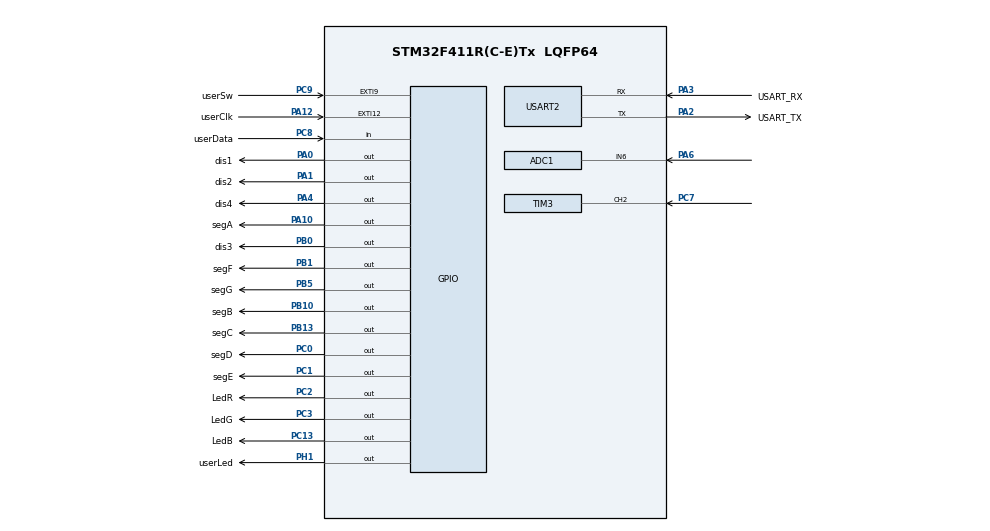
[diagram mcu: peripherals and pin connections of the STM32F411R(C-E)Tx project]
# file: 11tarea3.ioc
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ADC1.Channel-0\#ChannelRegularConversion=ADC_CHANNEL_6
ADC1.ContinuousConvMode=ENABLE
ADC1.DMAContinuousRequests=ENABLE
ADC1.ExternalTrigConv=ADC_EXTERNALTRIGCONV_T3_TRGO
ADC1.NbrOfConversionFlag=1
ADC1.master=1
Dma.ADC1.0.Direction=DMA_PERIPH_TO_MEMORY
Dma.ADC1.0.FIFOMode=DMA_FIFOMODE_DISABLE
Dma.ADC1.0.Instance=DMA2_Stream0
Dma.ADC1.0.MemDataAlignment=DMA_MDATAALIGN_HALFWORD
Dma.ADC1.0.MemInc=DMA_MINC_ENABLE
Dma.ADC1.0.Mode=DMA_CIRCULAR
Dma.ADC1.0.PeriphDataAlignment=DMA_PDATAALIGN_HALFWORD
Dma.ADC1.0.PeriphInc=DMA_PINC_DISABLE
Dma.ADC1.0.Priority=DMA_PRIORITY_LOW
Dma.Request0=ADC1
Dma.Request1=TIM3_CH2
Dma.TIM3_CH2.1.Direction=DMA_PERIPH_TO_MEMORY
Dma.TIM3_CH2.1.FIFOMode=DMA_FIFOMODE_DISABLE
Dma.TIM3_CH2.1.Instance=DMA1_Stream5
Dma.TIM3_CH2.1.MemDataAlignment=DMA_MDATAALIGN_HALFWORD
Dma.TIM3_CH2.1.MemInc=DMA_MINC_ENABLE
Dma.TIM3_CH2.1.Mode=DMA_CIRCULAR
Dma.TIM3_CH2.1.PeriphDataAlignment=DMA_PDATAALIGN_HALFWORD
Dma.TIM3_CH2.1.PeriphInc=DMA_PINC_DISABLE
Dma.TIM3_CH2.1.Priority=DMA_PRIORITY_LOW
Mcu.Family=STM32F4
Mcu.Name=STM32F411R(C-E)Tx
Mcu.Package=LQFP64
NVIC.ADC_IRQn=true\:0\:0\:false\:false\:true\:true\:true\:true
NVIC.DMA1_Stream5_IRQn=true\:0\:0\:false\:false\:true\:false\:true\:true
NVIC.DMA2_Stream0_IRQn=true\:0\:0\:false\:false\:true\:false\:true\:true
NVIC.EXTI15_10_IRQn=true\:0\:0\:false\:false\:true\:true\:true\:true
NVIC.EXTI9_5_IRQn=true\:0\:0\:false\:false\:true\:true\:true\:true
NVIC.PriorityGroup=NVIC_PRIORITYGROUP_0
NVIC.TIM2_IRQn=true\:0\:0\:false\:false\:true\:true\:true\:true
NVIC.TIM3_IRQn=true\:0\:0\:false\:false\:true\:true\:true\:true
NVIC.TIM4_IRQn=true\:0\:0\:false\:false\:true\:true\:true\:true
NVIC.USART2_IRQn=true\:0\:0\:false\:false\:true\:true\:true\:true
PA0-WKUP.GPIO_Label=dis1
PA0-WKUP.Signal=GPIO_Output
PA1.GPIO_Label=dis2
PA1.Signal=GPIO_Output
PA10.GPIO_Label=segA
PA10.Signal=GPIO_Output
PA12.GPIO_Label=userClk
PA12.Signal=GPXTI12
PA13.GPIO_Label=TMS
PA13.Mode=Serial_Wire
PA13.Signal=SYS_JTMS-SWDIO
PA14.GPIO_Label=TCK
PA14.Mode=Serial_Wire
PA14.Signal=SYS_JTCK-SWCLK
PA2.GPIO_Label=USART_TX
PA2.Mode=Asynchronous
PA2.Signal=USART2_TX
PA3.GPIO_Label=USART_RX
PA3.Mode=Asynchronous
PA3.Signal=USART2_RX
PA4.GPIO_Label=dis4
PA4.Signal=GPIO_Output
PA6.Signal=ADCx_IN6
PB0.GPIO_Label=dis3
PB0.Signal=GPIO_Output
PB1.GPIO_Label=segF
PB1.Signal=GPIO_Output
PB10.GPIO_Label=segB
PB10.Signal=GPIO_Output
PB13.GPIO_Label=segC
PB13.Signal=GPIO_Output
PB3.GPIO_Label=SWO
PB3.Signal=SYS_JTDO-SWO
PB5.GPIO_Label=segG
PB5.Signal=GPIO_Output
PC0.GPIO_Label=segD
PC0.Signal=GPIO_Output
PC1.GPIO_Label=segE
PC1.Signal=GPIO_Output
PC13-ANTI_TAMP.GPIO_Label=LedB
PC13-ANTI_TAMP.Signal=GPIO_Output
PC2.GPIO_Label=LedR
PC2.Signal=GPIO_Output
PC3.GPIO_Label=LedG
PC3.Signal=GPIO_Output
PC7.Signal=S_TIM3_CH2
PC8.GPIO_Label=userData
PC8.Signal=GPIO_Input
PC9.GPIO_Label=userSw
PC9.Signal=GPXTI9
PH1\ -\ OSC_OUT.GPIO_Label=userLed
PH1\ -\ OSC_OUT.PinState=GPIO_PIN_SET
PH1\ -\ OSC_OUT.Signal=GPIO_Output
ProjectManager.HeapSize=0x200
ProjectManager.StackSize=0x400
ProjectManager.TargetToolchain=STM32CubeIDE
RCC.48MHZClocksFreq_Value=84000000
RCC.AHBFreq_Value=84000000
RCC.APB1CLKDivider=RCC_HCLK_DIV2
RCC.APB1Freq_Value=42000000
RCC.APB1TimFreq_Value=84000000
RCC.APB2Freq_Value=84000000
RCC.APB2TimFreq_Value=84000000
RCC.CortexFreq_Value=84000000
RCC.FLatency-AdvancedSettings=FLASH_LATENCY_2
RCC.HCLKFreq_Value=84000000
RCC.HSE_VALUE=8000000
RCC.HSI_VALUE=16000000
RCC.LSE_VALUE=32768
RCC.PLLN=336
RCC.PLLP=RCC_PLLP_DIV4
RCC.SYSCLKFreq_VALUE=84000000
RCC.SYSCLKSource=RCC_SYSCLKSOURCE_PLLCLK
RCC.VCOOutputFreq_Value=336000000
SH.ADCx_IN6.0=ADC1_IN6,IN6
SH.S_TIM3_CH2.0=TIM3_CH2,Input_Capture2_from_TI2
TIM2.AutoReloadPreload=TIM_AUTORELOAD_PRELOAD_ENABLE
TIM2.Period=500
TIM2.Prescaler=42000-1
TIM3.Channel-Input_Capture2_from_TI2=TIM_CHANNEL_2
TIM3.ICFilter_CH2=8
TIM3.TIM_MasterOutputTrigger=TIM_TRGO_UPDATE
TIM4.Period=200-1
TIM4.Prescaler=840-1
TIM4.TIM_MasterOutputTrigger=TIM_TRGO_UPDATE
USART2.VirtualMode=VM_ASYNC
VP_TIM2_VS_ClockSourceINT.Mode=Internal
VP_TIM3_VS_ClockSourceINT.Mode=Internal
VP_TIM4_VS_ClockSourceINT.Mode=Internal
board=NUCLEO-F411RE

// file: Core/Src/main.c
	/* USER CODE BEGIN Header */
	/**
	  ******************************************************************************
	  * @file           : main.c
	  * @brief          : Main program body
	  ******************************************************************************
	  * @attention
	  *
	  * Copyright (c) 2025 STMicroelectronics.
	  * All rights reserved.
	  *
	  * This software is licensed under terms that can be found in the LICENSE file
	  * in the root directory of this software component.
	  * If no LICENSE file comes with this software, it is provided AS-IS.
	  *
	  ******************************************************************************
	  */
	/* USER CODE END Header */
	/* Includes ------------------------------------------------------------------*/
	#include "main.h"

	/* Private includes ----------------------------------------------------------*/
	/* USER CODE BEGIN Includes */
	#include "commands.h"
	#include "fsm.h"
	#include "stdint.h"
	#include "stdio.h"
	#include "string.h"
	#include <stdlib.h>
	#include "arm_math.h"
	#include "main.h"
	/* USER CODE END Includes */

	/* Private typedef -----------------------------------------------------------*/

	/* Private define ------------------------------------------------------------*/

	/* Private macro -------------------------------------------------------------*/

	/* Private variables ---------------------------------------------------------*/
	ADC_HandleTypeDef hadc1;
	DMA_HandleTypeDef hdma_adc1;

	TIM_HandleTypeDef htim2;
	TIM_HandleTypeDef htim3;
	TIM_HandleTypeDef htim4;
	DMA_HandleTypeDef hdma_tim3_ch2;

	UART_HandleTypeDef huart2;

	/* USER CODE BEGIN PV */
	#define FFT_SIZE_MAX 2048
	const uint32_t timer_clk = 84000000UL;
	 uint16_t adc_buffer[FFT_SIZE_MAX];
	 uint16_t fft_size = 1024;
	 uint16_t display_value   =  0;
	 uint8_t nextDigit_FSM    =  1;
	 uint8_t tx_buffer[TX_BUFFER_SIZE] = {0};

	#define FREQ_BUFFER_SIZE 16
	float freq_buffer[FREQ_BUFFER_SIZE] = {0};
	uint8_t freq_index = 0;
	uint8_t freq_full = 0;
	char rx_buffer[100] = {0};
	uint8_t rx_char = 0;
	uint8_t rx_index=0;
	volatile e_PosiblesEvents pending_event = IDLE;
	volatile uint8_t data_snapshot = 0;

	volatile uint8_t  flagCapture      = 0;
	volatile uint32_t firstCapture     = 0;
	volatile uint32_t secondCapture    = 0;
	volatile uint32_t elapsedTicks     = 0;
	volatile uint32_t counterOverflow  = 0;
	/* USER CODE END PV */

	/* Private function prototypes -----------------------------------------------*/
	void SystemClock_Config(void);
	static void MX_GPIO_Init(void);
	static void MX_DMA_Init(void);
	static void MX_USART2_UART_Init(void);
	static void MX_TIM2_Init(void);
	static void MX_TIM4_Init(void);
	static void MX_ADC1_Init(void);
	static void MX_TIM3_Init(void);
	/* USER CODE BEGIN PFP */
	void System_Init(void);
	/* USER CODE END PFP */

	/* Private user code ---------------------------------------------------------*/
	/* USER CODE BEGIN 0 */
	void System_Init(void) {

	    HAL_TIM_Base_Start_IT(&htim2);
	    HAL_TIM_Base_Start_IT(&htim3);
	    HAL_TIM_Base_Start_IT(&htim4);
	    HAL_UART_Receive_IT(&huart2, &rx_char, 1);
	    HAL_ADC_Start_DMA(&hadc1, (uint32_t*)adc_buffer, fft_size);
	    HAL_TIM_IC_Start_IT(&htim3, TIM_CHANNEL_2);

	    init_fsm();
	    Cmd_HandleSampleFreqCmd("3");
	    Cmd_HandleFFTSizeCmd("1");
	    Cmd_HandleHelpCmd();
	}
	void displayNumber(uint8_t digitValue) {
		// Apagar todos los segmentos
		HAL_GPIO_WritePin(GPIOA, GPIO_PIN_10, GPIO_PIN_RESET);  // A
		HAL_GPIO_WritePin(GPIOB, GPIO_PIN_10, GPIO_PIN_RESET);  // B
		HAL_GPIO_WritePin(GPIOB, GPIO_PIN_13, GPIO_PIN_RESET);  // C
		HAL_GPIO_WritePin(GPIOC, GPIO_PIN_0, GPIO_PIN_RESET);   // D
		HAL_GPIO_WritePin(GPIOC, GPIO_PIN_1, GPIO_PIN_RESET);   // E
		HAL_GPIO_WritePin(GPIOB, GPIO_PIN_1, GPIO_PIN_RESET);   // F
		HAL_GPIO_WritePin(GPIOB, GPIO_PIN_5, GPIO_PIN_RESET);   // G

		switch (digitValue) {
			case 0:
				HAL_GPIO_WritePin(GPIOA, GPIO_PIN_10, GPIO_PIN_SET);
				HAL_GPIO_WritePin(GPIOB, GPIO_PIN_10, GPIO_PIN_SET);
				HAL_GPIO_WritePin(GPIOB, GPIO_PIN_13, GPIO_PIN_SET);
				HAL_GPIO_WritePin(GPIOC, GPIO_PIN_0, GPIO_PIN_SET);
				HAL_GPIO_WritePin(GPIOC, GPIO_PIN_1, GPIO_PIN_SET);
				HAL_GPIO_WritePin(GPIOB, GPIO_PIN_1, GPIO_PIN_SET);
				break;
			case 1:
				HAL_GPIO_WritePin(GPIOB, GPIO_PIN_10, GPIO_PIN_SET);
				HAL_GPIO_WritePin(GPIOB, GPIO_PIN_13, GPIO_PIN_SET);
				break;
			case 2:
				HAL_GPIO_WritePin(GPIOA, GPIO_PIN_10, GPIO_PIN_SET);
				HAL_GPIO_WritePin(GPIOB, GPIO_PIN_10, GPIO_PIN_SET);
				HAL_GPIO_WritePin(GPIOC, GPIO_PIN_0, GPIO_PIN_SET);
				HAL_GPIO_WritePin(GPIOC, GPIO_PIN_1, GPIO_PIN_SET);
				HAL_GPIO_WritePin(GPIOB, GPIO_PIN_5, GPIO_PIN_SET);
				break;
			case 3:
				HAL_GPIO_WritePin(GPIOA, GPIO_PIN_10, GPIO_PIN_SET);
				HAL_GPIO_WritePin(GPIOB, GPIO_PIN_10, GPIO_PIN_SET);
				HAL_GPIO_WritePin(GPIOB, GPIO_PIN_13, GPIO_PIN_SET);
				HAL_GPIO_WritePin(GPIOC, GPIO_PIN_0, GPIO_PIN_SET);
				HAL_GPIO_WritePin(GPIOB, GPIO_PIN_5, GPIO_PIN_SET);
				break;
			case 4:
				HAL_GPIO_WritePin(GPIOB, GPIO_PIN_10, GPIO_PIN_SET);
				HAL_GPIO_WritePin(GPIOB, GPIO_PIN_13, GPIO_PIN_SET);
				HAL_GPIO_WritePin(GPIOB, GPIO_PIN_1, GPIO_PIN_SET);
				HAL_GPIO_WritePin(GPIOB, GPIO_PIN_5, GPIO_PIN_SET);
				break;
			case 5:
				HAL_GPIO_WritePin(GPIOA, GPIO_PIN_10, GPIO_PIN_SET);
				HAL_GPIO_WritePin(GPIOB, GPIO_PIN_13, GPIO_PIN_SET);
				HAL_GPIO_WritePin(GPIOC, GPIO_PIN_0, GPIO_PIN_SET);
				HAL_GPIO_WritePin(GPIOB, GPIO_PIN_1, GPIO_PIN_SET);
				HAL_GPIO_WritePin(GPIOB, GPIO_PIN_5, GPIO_PIN_SET);
				break;
			case 6:
				HAL_GPIO_WritePin(GPIOA, GPIO_PIN_10, GPIO_PIN_SET);
				HAL_GPIO_WritePin(GPIOB, GPIO_PIN_13, GPIO_PIN_SET);
				HAL_GPIO_WritePin(GPIOC, GPIO_PIN_0, GPIO_PIN_SET);
				HAL_GPIO_WritePin(GPIOC, GPIO_PIN_1, GPIO_PIN_SET);
				HAL_GPIO_WritePin(GPIOB, GPIO_PIN_1, GPIO_PIN_SET);
				HAL_GPIO_WritePin(GPIOB, GPIO_PIN_5, GPIO_PIN_SET);
				break;
			case 7:
				HAL_GPIO_WritePin(GPIOA, GPIO_PIN_10, GPIO_PIN_SET);
				HAL_GPIO_WritePin(GPIOB, GPIO_PIN_10, GPIO_PIN_SET);
				HAL_GPIO_WritePin(GPIOB, GPIO_PIN_13, GPIO_PIN_SET);
				break;
			case 8:
				HAL_GPIO_WritePin(GPIOA, GPIO_PIN_10, GPIO_PIN_SET);
				HAL_GPIO_WritePin(GPIOB, GPIO_PIN_10, GPIO_PIN_SET);
				HAL_GPIO_WritePin(GPIOB, GPIO_PIN_13, GPIO_PIN_SET);
				HAL_GPIO_WritePin(GPIOC, GPIO_PIN_0, GPIO_PIN_SET);
				HAL_GPIO_WritePin(GPIOC, GPIO_PIN_1, GPIO_PIN_SET);
				HAL_GPIO_WritePin(GPIOB, GPIO_PIN_1, GPIO_PIN_SET);
				HAL_GPIO_WritePin(GPIOB, GPIO_PIN_5, GPIO_PIN_SET);
				break;
			case 9:
				HAL_GPIO_WritePin(GPIOA, GPIO_PIN_10, GPIO_PIN_SET);
				HAL_GPIO_WritePin(GPIOB, GPIO_PIN_10, GPIO_PIN_SET);
				HAL_GPIO_WritePin(GPIOB, GPIO_PIN_13, GPIO_PIN_SET);
				HAL_GPIO_WritePin(GPIOB, GPIO_PIN_1, GPIO_PIN_SET);
				HAL_GPIO_WritePin(GPIOB, GPIO_PIN_5, GPIO_PIN_SET);
				break;
		}
	}
	/* USER CODE END 0 */

	/**
	  * @brief  The application entry point.
	  * @retval int
	  */
	int main(void)
	{

	  /* MCU Configuration--------------------------------------------------------*/

	  /* Reset of all peripherals, Initializes the Flash interface and the Systick. */
		HAL_Init();

	  /* Configure the system clock */
	  SystemClock_Config();

	  /* Initialize all configured peripherals */
	  MX_GPIO_Init();
	  MX_DMA_Init();
	  MX_USART2_UART_Init();
	  MX_TIM2_Init();
	  MX_TIM4_Init();
	  MX_ADC1_Init();
	  MX_TIM3_Init();
	  /* USER CODE BEGIN 2 */
	  System_Init();
	  /* USER CODE END 2 */

	  /* Infinite loop */
	  while (1)
	  {

		/* USER CODE BEGIN 3 */
		if (pending_event != IDLE){
			state_machine_action(pending_event);
			pending_event = IDLE;
		}
	  }
	  /* USER CODE END 3 */
	}

	/**
	  * @brief System Clock Configuration
	  * @retval None
	  */
	void SystemClock_Config(void)
	{
	  RCC_OscInitTypeDef RCC_OscInitStruct = {0};
	  RCC_ClkInitTypeDef RCC_ClkInitStruct = {0};

	  /** Configure the main internal regulator output voltage
	  */
	  __HAL_RCC_PWR_CLK_ENABLE();
	  __HAL_PWR_VOLTAGESCALING_CONFIG(PWR_REGULATOR_VOLTAGE_SCALE1);

	  /** Initializes the RCC Oscillators according to the specified parameters
	  * in the RCC_OscInitTypeDef structure.
	  */
	  RCC_OscInitStruct.OscillatorType = RCC_OSCILLATORTYPE_HSI;
	  RCC_OscInitStruct.HSIState = RCC_HSI_ON;
	  RCC_OscInitStruct.HSICalibrationValue = RCC_HSICALIBRATION_DEFAULT;
	  RCC_OscInitStruct.PLL.PLLState = RCC_PLL_ON;
	  RCC_OscInitStruct.PLL.PLLSource = RCC_PLLSOURCE_HSI;
	  RCC_OscInitStruct.PLL.PLLM = 16;
	  RCC_OscInitStruct.PLL.PLLN = 336;
	  RCC_OscInitStruct.PLL.PLLP = RCC_PLLP_DIV4;
	  RCC_OscInitStruct.PLL.PLLQ = 4;
	  if (HAL_RCC_OscConfig(&RCC_OscInitStruct) != HAL_OK)
	  {
		Error_Handler();
	  }

	  /** Initializes the CPU, AHB and APB buses clocks
	  */
	  RCC_ClkInitStruct.ClockType = RCC_CLOCKTYPE_HCLK|RCC_CLOCKTYPE_SYSCLK
								  |RCC_CLOCKTYPE_PCLK1|RCC_CLOCKTYPE_PCLK2;
	  RCC_ClkInitStruct.SYSCLKSource = RCC_SYSCLKSOURCE_PLLCLK;
	  RCC_ClkInitStruct.AHBCLKDivider = RCC_SYSCLK_DIV1;
	  RCC_ClkInitStruct.APB1CLKDivider = RCC_HCLK_DIV2;
	  RCC_ClkInitStruct.APB2CLKDivider = RCC_HCLK_DIV1;

	  if (HAL_RCC_ClockConfig(&RCC_ClkInitStruct, FLASH_LATENCY_2) != HAL_OK)
	  {
		Error_Handler();
	  }
	}

	/**
	  * @brief ADC1 Initialization Function
	  * @param None
	  * @retval None
	  */
	static void MX_ADC1_Init(void)
	{

	  ADC_ChannelConfTypeDef sConfig = {0};

	  /** Configure the global features of the ADC (Clock, Resolution, Data Alignment and number of conversion)
	  */
	  hadc1.Instance = ADC1;
	  hadc1.Init.ClockPrescaler = ADC_CLOCK_SYNC_PCLK_DIV4;
	  hadc1.Init.Resolution = ADC_RESOLUTION_12B;
	  hadc1.Init.ScanConvMode = DISABLE;
	  hadc1.Init.ContinuousConvMode = ENABLE;
	  hadc1.Init.DiscontinuousConvMode = DISABLE;
	  hadc1.Init.ExternalTrigConvEdge = ADC_EXTERNALTRIGCONVEDGE_RISING;
	  hadc1.Init.ExternalTrigConv = ADC_EXTERNALTRIGCONV_T3_TRGO;
	  hadc1.Init.DataAlign = ADC_DATAALIGN_RIGHT;
	  hadc1.Init.NbrOfConversion = 1;
	  hadc1.Init.DMAContinuousRequests = ENABLE;
	  hadc1.Init.EOCSelection = ADC_EOC_SINGLE_CONV;
	  if (HAL_ADC_Init(&hadc1) != HAL_OK)
	  {
		Error_Handler();
	  }

	  /** Configure for the selected ADC regular channel its corresponding rank in the sequencer and its sample time.
	  */
	  sConfig.Channel = ADC_CHANNEL_6;
	  sConfig.Rank = 1;
	  sConfig.SamplingTime = ADC_SAMPLETIME_3CYCLES;
	  if (HAL_ADC_ConfigChannel(&hadc1, &sConfig) != HAL_OK)
	  {
		Error_Handler();
	  }

	}

	/**
	  * @brief TIM2 Initialization Function
	  * @param None
	  * @retval None
	  */
	static void MX_TIM2_Init(void)
	{

	  TIM_ClockConfigTypeDef sClockSourceConfig = {0};
	  TIM_MasterConfigTypeDef sMasterConfig = {0};

	  htim2.Instance = TIM2;
	  htim2.Init.Prescaler = 42000-1;
	  htim2.Init.CounterMode = TIM_COUNTERMODE_UP;
	  htim2.Init.Period = 500;
	  htim2.Init.ClockDivision = TIM_CLOCKDIVISION_DIV1;
	  htim2.Init.AutoReloadPreload = TIM_AUTORELOAD_PRELOAD_ENABLE;
	  if (HAL_TIM_Base_Init(&htim2) != HAL_OK)
	  {
		Error_Handler();
	  }
	  sClockSourceConfig.ClockSource = TIM_CLOCKSOURCE_INTERNAL;
	  if (HAL_TIM_ConfigClockSource(&htim2, &sClockSourceConfig) != HAL_OK)
	  {
		Error_Handler();
	  }
	  sMasterConfig.MasterOutputTrigger = TIM_TRGO_RESET;
	  sMasterConfig.MasterSlaveMode = TIM_MASTERSLAVEMODE_DISABLE;
	  if (HAL_TIMEx_MasterConfigSynchronization(&htim2, &sMasterConfig) != HAL_OK)
	  {
		Error_Handler();
	  }

	}

	/**
	  * @brief TIM3 Initialization Function
	  * @param None
	  * @retval None
	  */
	static void MX_TIM3_Init(void)
	{

	  TIM_ClockConfigTypeDef sClockSourceConfig = {0};
	  TIM_MasterConfigTypeDef sMasterConfig = {0};
	  TIM_IC_InitTypeDef sConfigIC = {0};

	  htim3.Instance = TIM3;
	  htim3.Init.Prescaler = 0;
	  htim3.Init.CounterMode = TIM_COUNTERMODE_UP;
	  htim3.Init.Period = 433;
	  htim3.Init.ClockDivision = TIM_CLOCKDIVISION_DIV1;
	  htim3.Init.AutoReloadPreload = TIM_AUTORELOAD_PRELOAD_DISABLE;
	  if (HAL_TIM_Base_Init(&htim3) != HAL_OK)
	  {
		Error_Handler();
	  }
	  sClockSourceConfig.ClockSource = TIM_CLOCKSOURCE_INTERNAL;
	  if (HAL_TIM_ConfigClockSource(&htim3, &sClockSourceConfig) != HAL_OK)
	  {
		Error_Handler();
	  }
	  if (HAL_TIM_IC_Init(&htim3) != HAL_OK)
	  {
		Error_Handler();
	  }
	  sMasterConfig.MasterOutputTrigger = TIM_TRGO_UPDATE;
	  sMasterConfig.MasterSlaveMode = TIM_MASTERSLAVEMODE_DISABLE;
	  if (HAL_TIMEx_MasterConfigSynchronization(&htim3, &sMasterConfig) != HAL_OK)
	  {
		Error_Handler();
	  }
	  sConfigIC.ICPolarity = TIM_INPUTCHANNELPOLARITY_RISING;
	  sConfigIC.ICSelection = TIM_ICSELECTION_DIRECTTI;
	  sConfigIC.ICPrescaler = TIM_ICPSC_DIV1;
	  sConfigIC.ICFilter = 8;
	  if (HAL_TIM_IC_ConfigChannel(&htim3, &sConfigIC, TIM_CHANNEL_2) != HAL_OK)
	  {
		Error_Handler();
	  }
	  /* USER CODE BEGIN TIM3_Init 2 */
	  HAL_TIM_IC_Start_IT(&htim3, TIM_CHANNEL_2);
	  /* USER CODE END TIM3_Init 2 */

	}

	/**
	  * @brief TIM4 Initialization Function
	  * @param None
	  * @retval None
	  */
	static void MX_TIM4_Init(void)
	{

	  TIM_ClockConfigTypeDef sClockSourceConfig = {0};
	  TIM_MasterConfigTypeDef sMasterConfig = {0};

	  htim4.Instance = TIM4;
	  htim4.Init.Prescaler = 840-1;
	  htim4.Init.CounterMode = TIM_COUNTERMODE_UP;
	  htim4.Init.Period = 200-1;
	  htim4.Init.ClockDivision = TIM_CLOCKDIVISION_DIV1;
	  htim4.Init.AutoReloadPreload = TIM_AUTORELOAD_PRELOAD_DISABLE;
	  if (HAL_TIM_Base_Init(&htim4) != HAL_OK)
	  {
		Error_Handler();
	  }
	  sClockSourceConfig.ClockSource = TIM_CLOCKSOURCE_INTERNAL;
	  if (HAL_TIM_ConfigClockSource(&htim4, &sClockSourceConfig) != HAL_OK)
	  {
		Error_Handler();
	  }
	  sMasterConfig.MasterOutputTrigger = TIM_TRGO_UPDATE;
	  sMasterConfig.MasterSlaveMode = TIM_MASTERSLAVEMODE_DISABLE;
	  if (HAL_TIMEx_MasterConfigSynchronization(&htim4, &sMasterConfig) != HAL_OK)
	  {
		Error_Handler();
	  }

	}

	/**
	  * @brief USART2 Initialization Function
	  * @param None
	  * @retval None
	  */
	static void MX_USART2_UART_Init(void)
	{

	  huart2.Instance = USART2;
	  huart2.Init.BaudRate = 115200;
	  huart2.Init.WordLength = UART_WORDLENGTH_8B;
	  huart2.Init.StopBits = UART_STOPBITS_1;
	  huart2.Init.Parity = UART_PARITY_NONE;
	  huart2.Init.Mode = UART_MODE_TX_RX;
	  huart2.Init.HwFlowCtl = UART_HWCONTROL_NONE;
	  huart2.Init.OverSampling = UART_OVERSAMPLING_16;
	  if (HAL_UART_Init(&huart2) != HAL_OK)
	  {
		Error_Handler();
	  }

	}

	/**
	  * Enable DMA controller clock
	  */
	static void MX_DMA_Init(void)
	{

	  /* DMA controller clock enable */
	  __HAL_RCC_DMA2_CLK_ENABLE();
	  __HAL_RCC_DMA1_CLK_ENABLE();

	  /* DMA interrupt init */
	  /* DMA1_Stream5_IRQn interrupt configuration */
	  HAL_NVIC_SetPriority(DMA1_Stream5_IRQn, 0, 0);
	  HAL_NVIC_EnableIRQ(DMA1_Stream5_IRQn);
	  /* DMA2_Stream0_IRQn interrupt configuration */
	  HAL_NVIC_SetPriority(DMA2_Stream0_IRQn, 0, 0);
	  HAL_NVIC_EnableIRQ(DMA2_Stream0_IRQn);

	}

	/**
	  * @brief GPIO Initialization Function
	  * @param None
	  * @retval None
	  */
	static void MX_GPIO_Init(void)
	{
	  GPIO_InitTypeDef GPIO_InitStruct = {0};

	  /* GPIO Ports Clock Enable */
	  __HAL_RCC_GPIOC_CLK_ENABLE();
	  __HAL_RCC_GPIOH_CLK_ENABLE();
	  __HAL_RCC_GPIOA_CLK_ENABLE();
	  __HAL_RCC_GPIOB_CLK_ENABLE();

	  /*Configure GPIO pin Output Level */
	  HAL_GPIO_WritePin(GPIOC, LedB_Pin|segD_Pin|segE_Pin|LedR_Pin
							  |LedG_Pin, GPIO_PIN_RESET);

	  /*Configure GPIO pin Output Level */
	  HAL_GPIO_WritePin(userLed_GPIO_Port, userLed_Pin, GPIO_PIN_SET);

	  /*Configure GPIO pin Output Level */
	  HAL_GPIO_WritePin(GPIOA, dis1_Pin|dis2_Pin|dis4_Pin|segA_Pin, GPIO_PIN_RESET);

	  /*Configure GPIO pin Output Level */
	  HAL_GPIO_WritePin(GPIOB, dis3_Pin|segF_Pin|segB_Pin|segC_Pin
							  |segG_Pin, GPIO_PIN_RESET);

	  /*Configure GPIO pins : LedB_Pin segD_Pin segE_Pin LedR_Pin
							   LedG_Pin */
	  GPIO_InitStruct.Pin = LedB_Pin|segD_Pin|segE_Pin|LedR_Pin
							  |LedG_Pin;
	  GPIO_InitStruct.Mode = GPIO_MODE_OUTPUT_PP;
	  GPIO_InitStruct.Pull = GPIO_NOPULL;
	  GPIO_InitStruct.Speed = GPIO_SPEED_FREQ_LOW;
	  HAL_GPIO_Init(GPIOC, &GPIO_InitStruct);

	  /*Configure GPIO pin : userLed_Pin */
	  GPIO_InitStruct.Pin = userLed_Pin;
	  GPIO_InitStruct.Mode = GPIO_MODE_OUTPUT_PP;
	  GPIO_InitStruct.Pull = GPIO_NOPULL;
	  GPIO_InitStruct.Speed = GPIO_SPEED_FREQ_LOW;
	  HAL_GPIO_Init(userLed_GPIO_Port, &GPIO_InitStruct);

	  /*Configure GPIO pins : dis1_Pin dis2_Pin dis4_Pin segA_Pin */
	  GPIO_InitStruct.Pin = dis1_Pin|dis2_Pin|dis4_Pin|segA_Pin;
	  GPIO_InitStruct.Mode = GPIO_MODE_OUTPUT_PP;
	  GPIO_InitStruct.Pull = GPIO_NOPULL;
	  GPIO_InitStruct.Speed = GPIO_SPEED_FREQ_LOW;
	  HAL_GPIO_Init(GPIOA, &GPIO_InitStruct);

	  /*Configure GPIO pins : dis3_Pin segF_Pin segB_Pin segC_Pin
							   segG_Pin */
	  GPIO_InitStruct.Pin = dis3_Pin|segF_Pin|segB_Pin|segC_Pin
							  |segG_Pin;
	  GPIO_InitStruct.Mode = GPIO_MODE_OUTPUT_PP;
	  GPIO_InitStruct.Pull = GPIO_NOPULL;
	  GPIO_InitStruct.Speed = GPIO_SPEED_FREQ_LOW;
	  HAL_GPIO_Init(GPIOB, &GPIO_InitStruct);

	  /*Configure GPIO pin : userData_Pin */
	  GPIO_InitStruct.Pin = userData_Pin;
	  GPIO_InitStruct.Mode = GPIO_MODE_INPUT;
	  GPIO_InitStruct.Pull = GPIO_NOPULL;
	  HAL_GPIO_Init(userData_GPIO_Port, &GPIO_InitStruct);

	  /*Configure GPIO pin : userSw_Pin */
	  GPIO_InitStruct.Pin = userSw_Pin;
	  GPIO_InitStruct.Mode = GPIO_MODE_IT_RISING;
	  GPIO_InitStruct.Pull = GPIO_NOPULL;
	  HAL_GPIO_Init(userSw_GPIO_Port, &GPIO_InitStruct);

	  /*Configure GPIO pin : userClk_Pin */
	  GPIO_InitStruct.Pin = userClk_Pin;
	  GPIO_InitStruct.Mode = GPIO_MODE_IT_RISING;
	  GPIO_InitStruct.Pull = GPIO_NOPULL;
	  HAL_GPIO_Init(userClk_GPIO_Port, &GPIO_InitStruct);

	  /* EXTI interrupt init*/
	  HAL_NVIC_SetPriority(EXTI9_5_IRQn, 0, 0);
	  HAL_NVIC_EnableIRQ(EXTI9_5_IRQn);

	  HAL_NVIC_SetPriority(EXTI15_10_IRQn, 0, 0);
	  HAL_NVIC_EnableIRQ(EXTI15_10_IRQn);

	}

	/* USER CODE BEGIN 4 */
	void HAL_TIM_PeriodElapsedCallback(TIM_HandleTypeDef *htim){
		if(htim->Instance==TIM2){
			HAL_GPIO_TogglePin(userLed_GPIO_Port,userLed_Pin);
		}else if(htim->Instance==TIM4){
				if (pending_event == IDLE)
				pending_event = EVENT_TIMER_TICK;
		}else if (htim->Instance==TIM3){

			counterOverflow++;
		}
	}
	void HAL_GPIO_EXTI_Callback(uint16_t GPIO_Pin)
	{
		if (GPIO_Pin == userClk_Pin) {
			data_snapshot = HAL_GPIO_ReadPin(userData_GPIO_Port, userData_Pin);
			if (pending_event == IDLE)
				pending_event = EVENT_ENCODER;
		} else if (GPIO_Pin == userSw_Pin) {
			if (pending_event == IDLE)
				pending_event = EVENT_SW;
		}
	}
	void HAL_UART_RxCpltCallback(UART_HandleTypeDef *huart){
		if(huart->Instance == USART2){
			if(rx_index<sizeof(rx_buffer)-1){
				rx_buffer[rx_index++]=rx_char;
			}
			if (rx_char == '@') {
				rx_buffer[rx_index]='\0';
				rx_index=0;
				pending_event = EVENT_USART; //aquí levanta tu bandera
			}
			HAL_UART_Receive_IT(huart, &rx_char,1);
		}
	}
	void HAL_TIM_IC_CaptureCallback(TIM_HandleTypeDef *htim) {
		if (htim->Instance == TIM3 && htim->Channel == HAL_TIM_ACTIVE_CHANNEL_2) {
			static uint8_t ready = 0;

			if (ready == 0) {
				firstCapture = TIM3->CCR2;
				counterOverflow = 0;
				ready = 1;
			} else {
				secondCapture = TIM3->CCR2;

				if (secondCapture >= firstCapture) {
					elapsedTicks = secondCapture - firstCapture + (counterOverflow * 65536);
				} else {
					elapsedTicks = (0xFFFF - firstCapture + secondCapture + 1) + (counterOverflow * 65536);
				}

				if (elapsedTicks > 0 && pending_event == IDLE) {
					pending_event = EVENT_IC_CAPTURE;
				}

				ready = 0; // volver a medir siguiente ciclo
			}
		}
	}
	/* USER CODE END 4 */

	/**
	  * @brief  This function is executed in case of error occurrence.
	  * @retval None
	  */
	void Error_Handler(void)
	{
	  __disable_irq();
	  while (1)
	  {
	  }
	}

	#ifdef  USE_FULL_ASSERT
	/**
	  * @brief  Reports the name of the source file and the source line number
	  *         where the assert_param error has occurred.
	  * @param  file: pointer to the source file name
	  * @param  line: assert_param error line source number
	  * @retval None
	  */
	void assert_failed(uint8_t *file, uint32_t line)
	{
	}
	#endif /* USE_FULL_ASSERT */
